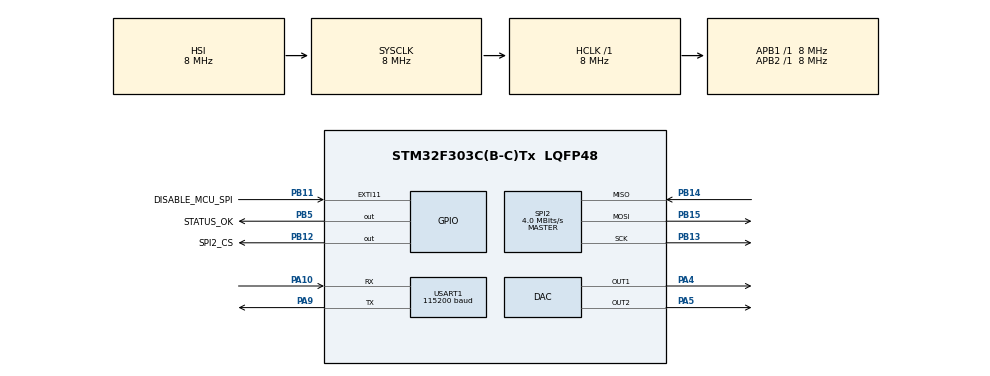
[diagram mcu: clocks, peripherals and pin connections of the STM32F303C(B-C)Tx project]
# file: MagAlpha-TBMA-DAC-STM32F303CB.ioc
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Mcu.Family=STM32F3
Mcu.Name=STM32F303C(B-C)Tx
Mcu.Package=LQFP48
NVIC.EXTI15_10_IRQn=true\:0\:0\:false\:false\:true\:true\:true
NVIC.PriorityGroup=NVIC_PRIORITYGROUP_4
PA10.Mode=Asynchronous
PA10.Signal=USART1_RX
PA4.Signal=COMP_DAC1_group
PA5.Signal=COMP_DAC2_group
PA9.Mode=Asynchronous
PA9.Signal=USART1_TX
PB11.GPIO_Label=DISABLE_MCU_SPI
PB11.GPIO_ModeDefaultEXTI=GPIO_MODE_IT_RISING_FALLING
PB11.GPIO_PuPd=GPIO_PULLDOWN
PB11.Signal=GPXTI11
PB12.GPIO_Label=SPI2_CS
PB12.GPIO_ModeDefaultOutputPP=GPIO_MODE_OUTPUT_OD
PB12.GPIO_PuPd=GPIO_PULLUP
PB12.GPIO_Speed=GPIO_SPEED_FREQ_HIGH
PB12.PinState=GPIO_PIN_SET
PB12.Signal=GPIO_Output
PB13.Mode=Full_Duplex_Master
PB13.Signal=SPI2_SCK
PB14.Mode=Full_Duplex_Master
PB14.Signal=SPI2_MISO
PB15.Mode=Full_Duplex_Master
PB15.Signal=SPI2_MOSI
PB5.GPIO_Label=STATUS_OK
PB5.GPIO_ModeDefaultOutputPP=GPIO_MODE_OUTPUT_PP
PB5.GPIO_PuPd=GPIO_NOPULL
PB5.PinState=GPIO_PIN_RESET
PB5.Signal=GPIO_Output
ProjectManager.HeapSize=0x200
ProjectManager.StackSize=0x400
ProjectManager.TargetToolchain=MDK-ARM V5.27
RCC.AHBFreq_Value=8000000
RCC.APB1Freq_Value=8000000
RCC.APB2Freq_Value=8000000
RCC.CortexFreq_Value=8000000
RCC.HSE_VALUE=8000000
RCC.HSI_VALUE=8000000
RCC.LSE_VALUE=32768
RCC.SYSCLKFreq_VALUE=8000000
SH.COMP_DAC1_group.0=DAC_OUT1,DAC_OUT1
SH.COMP_DAC2_group.0=DAC_OUT2,Enable_DAC_OUT2
SPI2.CLKPhase=SPI_PHASE_2EDGE
SPI2.CLKPolarity=SPI_POLARITY_HIGH
SPI2.CalculateBaudRate=4.0 MBits/s
SPI2.DataSize=SPI_DATASIZE_16BIT
SPI2.Direction=SPI_DIRECTION_2LINES
SPI2.Mode=SPI_MODE_MASTER
SPI2.VirtualType=VM_MASTER
USART1.AutoBaudRateEnableParam=UART_ADVFEATURE_AUTOBAUDRATE_DISABLE
USART1.BaudRate=115200
USART1.Mode=MODE_TX
USART1.Parity=PARITY_EVEN
USART1.VirtualMode-Asynchronous=VM_ASYNC
USART1.WordLength=WORDLENGTH_9B
board=custom

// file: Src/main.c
/* USER CODE BEGIN Header */
/**
  ******************************************************************************
  * @file           : main.c
  * @brief          : Main program body
  ******************************************************************************
  * @attention
  *
  * <h2><center>&copy; Copyright (c) 2020 STMicroelectronics.
  * All rights reserved.</center></h2>
  *
  * This software component is licensed by ST under BSD 3-Clause license,
  * the "License"; You may not use this file except in compliance with the
  * License. You may obtain a copy of the License at:
  *                        opensource.org/licenses/BSD-3-Clause
  *
  ******************************************************************************
  */
/* USER CODE END Header */

#include "main.h"

/* USER CODE BEGIN Includes */
#include <string.h>
#include <stdio.h>
#include <stdbool.h>
/* USER CODE END Includes */

/* USER CODE BEGIN PD */
#define UART_RECEIVE_BUFFER_SIZE_IN_BYTE 12
#define RAWTODEG 0.0054931640625
/* USER CODE END PD */

DAC_HandleTypeDef hdac;

SPI_HandleTypeDef hspi2;

UART_HandleTypeDef huart1;

/* USER CODE BEGIN PV */
uint8_t uartRxData[100];
uint8_t uartTxData[100];
bool spiEnabled = true;

/* USER CODE END PV */

void SystemClock_Config(void);
static void MX_GPIO_Init(void);
static void MX_DAC_Init(void);
static void MX_SPI2_Init(void);
static void MX_USART1_UART_Init(void);
/* USER CODE BEGIN PFP */
void configSensor(void);
void configSystem(void);
uint8_t writeSensorRegister(uint8_t address, uint8_t value);
uint8_t readSensorRegister(uint8_t address);
uint16_t readSensorAngle(void);
void transmitAngleToUart(uint16_t angle);
void setDacValue(uint16_t angle);
void checkSpiHostId(void);

/* USER CODE END PFP */

int main(void)
{
  /* USER CODE BEGIN 1 */
  uint16_t angle;
  uint32_t delayInMs=500;

  /* USER CODE END 1 */

  /* MCU Configuration--------------------------------------------------------*/

  /* Reset of all peripherals, Initializes the Flash interface and the Systick. */
  HAL_Init();

  /* Configure the system clock */
  SystemClock_Config();

  /* Initialize all configured peripherals */
  MX_GPIO_Init();
  MX_DAC_Init();
  MX_SPI2_Init();
  MX_USART1_UART_Init();
  /* USER CODE BEGIN 2 */
  configSystem();
  configSensor();

  /* USER CODE END 2 */

  /* Infinite loop */
  /* USER CODE BEGIN WHILE */
  while (1)
  {
    if (spiEnabled)
    {
      angle=readSensorAngle();
      setDacValue(angle);
      transmitAngleToUart(angle);
    }
    else
    {
      HAL_GPIO_TogglePin(STATUS_OK_GPIO_Port, STATUS_OK_Pin);
      HAL_Delay(delayInMs);
    }

    /* USER CODE END WHILE */

  }
}

void SystemClock_Config(void)
{
  RCC_OscInitTypeDef RCC_OscInitStruct = {0};
  RCC_ClkInitTypeDef RCC_ClkInitStruct = {0};
  RCC_PeriphCLKInitTypeDef PeriphClkInit = {0};

  /** Initializes the CPU, AHB and APB busses clocks
  */
  RCC_OscInitStruct.OscillatorType = RCC_OSCILLATORTYPE_HSI;
  RCC_OscInitStruct.HSIState = RCC_HSI_ON;
  RCC_OscInitStruct.HSICalibrationValue = RCC_HSICALIBRATION_DEFAULT;
  RCC_OscInitStruct.PLL.PLLState = RCC_PLL_NONE;
  if (HAL_RCC_OscConfig(&RCC_OscInitStruct) != HAL_OK)
  {
    Error_Handler();
  }
  /** Initializes the CPU, AHB and APB busses clocks
  */
  RCC_ClkInitStruct.ClockType = RCC_CLOCKTYPE_HCLK|RCC_CLOCKTYPE_SYSCLK
                              |RCC_CLOCKTYPE_PCLK1|RCC_CLOCKTYPE_PCLK2;
  RCC_ClkInitStruct.SYSCLKSource = RCC_SYSCLKSOURCE_HSI;
  RCC_ClkInitStruct.AHBCLKDivider = RCC_SYSCLK_DIV1;
  RCC_ClkInitStruct.APB1CLKDivider = RCC_HCLK_DIV1;
  RCC_ClkInitStruct.APB2CLKDivider = RCC_HCLK_DIV1;

  if (HAL_RCC_ClockConfig(&RCC_ClkInitStruct, FLASH_LATENCY_0) != HAL_OK)
  {
    Error_Handler();
  }
  PeriphClkInit.PeriphClockSelection = RCC_PERIPHCLK_USART1;
  PeriphClkInit.Usart1ClockSelection = RCC_USART1CLKSOURCE_PCLK2;
  if (HAL_RCCEx_PeriphCLKConfig(&PeriphClkInit) != HAL_OK)
  {
    Error_Handler();
  }
}

static void MX_DAC_Init(void)
{

  DAC_ChannelConfTypeDef sConfig = {0};

  /** DAC Initialization
  */
  hdac.Instance = DAC;
  if (HAL_DAC_Init(&hdac) != HAL_OK)
  {
    Error_Handler();
  }
  /** DAC channel OUT1 config
  */
  sConfig.DAC_Trigger = DAC_TRIGGER_NONE;
  sConfig.DAC_OutputBuffer = DAC_OUTPUTBUFFER_ENABLE;
  if (HAL_DAC_ConfigChannel(&hdac, &sConfig, DAC_CHANNEL_1) != HAL_OK)
  {
    Error_Handler();
  }
  /** DAC channel OUT2 config
  */
  if (HAL_DAC_ConfigChannel(&hdac, &sConfig, DAC_CHANNEL_2) != HAL_OK)
  {
    Error_Handler();
  }

}

static void MX_SPI2_Init(void)
{

  /* SPI2 parameter configuration*/
  hspi2.Instance = SPI2;
  hspi2.Init.Mode = SPI_MODE_MASTER;
  hspi2.Init.Direction = SPI_DIRECTION_2LINES;
  hspi2.Init.DataSize = SPI_DATASIZE_16BIT;
  hspi2.Init.CLKPolarity = SPI_POLARITY_HIGH;
  hspi2.Init.CLKPhase = SPI_PHASE_2EDGE;
  hspi2.Init.NSS = SPI_NSS_SOFT;
  hspi2.Init.BaudRatePrescaler = SPI_BAUDRATEPRESCALER_2;
  hspi2.Init.FirstBit = SPI_FIRSTBIT_MSB;
  hspi2.Init.TIMode = SPI_TIMODE_DISABLE;
  hspi2.Init.CRCCalculation = SPI_CRCCALCULATION_DISABLE;
  hspi2.Init.CRCPolynomial = 7;
  hspi2.Init.CRCLength = SPI_CRC_LENGTH_DATASIZE;
  hspi2.Init.NSSPMode = SPI_NSS_PULSE_DISABLE;
  if (HAL_SPI_Init(&hspi2) != HAL_OK)
  {
    Error_Handler();
  }

}

static void MX_USART1_UART_Init(void)
{

  huart1.Instance = USART1;
  huart1.Init.BaudRate = 115200;
  huart1.Init.WordLength = UART_WORDLENGTH_9B;
  huart1.Init.StopBits = UART_STOPBITS_1;
  huart1.Init.Parity = UART_PARITY_EVEN;
  huart1.Init.Mode = UART_MODE_TX;
  huart1.Init.HwFlowCtl = UART_HWCONTROL_NONE;
  huart1.Init.OverSampling = UART_OVERSAMPLING_16;
  huart1.Init.OneBitSampling = UART_ONE_BIT_SAMPLE_DISABLE;
  huart1.AdvancedInit.AdvFeatureInit = UART_ADVFEATURE_NO_INIT;
  if (HAL_UART_Init(&huart1) != HAL_OK)
  {
    Error_Handler();
  }

}

static void MX_GPIO_Init(void)
{
  GPIO_InitTypeDef GPIO_InitStruct = {0};

  /* GPIO Ports Clock Enable */
  __HAL_RCC_GPIOA_CLK_ENABLE();
  __HAL_RCC_GPIOB_CLK_ENABLE();

  /*Configure GPIO pin Output Level */
  HAL_GPIO_WritePin(SPI2_CS_GPIO_Port, SPI2_CS_Pin, GPIO_PIN_SET);

  /*Configure GPIO pin Output Level */
  HAL_GPIO_WritePin(STATUS_OK_GPIO_Port, STATUS_OK_Pin, GPIO_PIN_RESET);

  /*Configure GPIO pin : DISABLE_MCU_SPI_Pin */
  GPIO_InitStruct.Pin = DISABLE_MCU_SPI_Pin;
  GPIO_InitStruct.Mode = GPIO_MODE_IT_RISING_FALLING;
  GPIO_InitStruct.Pull = GPIO_PULLDOWN;
  HAL_GPIO_Init(DISABLE_MCU_SPI_GPIO_Port, &GPIO_InitStruct);

  /*Configure GPIO pin : SPI2_CS_Pin */
  GPIO_InitStruct.Pin = SPI2_CS_Pin;
  GPIO_InitStruct.Mode = GPIO_MODE_OUTPUT_OD;
  GPIO_InitStruct.Pull = GPIO_PULLUP;
  GPIO_InitStruct.Speed = GPIO_SPEED_FREQ_HIGH;
  HAL_GPIO_Init(SPI2_CS_GPIO_Port, &GPIO_InitStruct);

  /*Configure GPIO pin : STATUS_OK_Pin */
  GPIO_InitStruct.Pin = STATUS_OK_Pin;
  GPIO_InitStruct.Mode = GPIO_MODE_OUTPUT_PP;
  GPIO_InitStruct.Pull = GPIO_NOPULL;
  GPIO_InitStruct.Speed = GPIO_SPEED_FREQ_LOW;
  HAL_GPIO_Init(STATUS_OK_GPIO_Port, &GPIO_InitStruct);

  /* EXTI interrupt init*/
  HAL_NVIC_SetPriority(EXTI15_10_IRQn, 0, 0);
  HAL_NVIC_EnableIRQ(EXTI15_10_IRQn);

}

/* USER CODE BEGIN 4 */
void configSensor(void)
{
  if (spiEnabled)
  {
    //writeSensorRegister(0, 0);
    //writeSensorRegister(1, 0);
  }
}

void configSystem(void)
{
  HAL_GPIO_WritePin(STATUS_OK_GPIO_Port, STATUS_OK_Pin, GPIO_PIN_SET);
  //HAL_UART_Receive_IT(&huart1, (uint8_t *)uartRxData, UART_RECEIVE_BUFFER_SIZE_IN_BYTE);
  HAL_DAC_Start(&hdac, DAC_CHANNEL_1);
  HAL_DAC_Start(&hdac, DAC_CHANNEL_2);
  checkSpiHostId();
}

uint8_t writeSensorRegister(uint8_t address, uint8_t value)
{
  uint32_t delayInMs=20;
  uint32_t timeoutInMs=10;
  uint8_t txData[2];
  uint8_t rxData[2];
  uint8_t registerValue;

  txData[0]=value;
  txData[1]=(0x4<<5)|(0x1F&address);
  HAL_GPIO_WritePin(SPI2_CS_GPIO_Port, SPI2_CS_Pin, GPIO_PIN_RESET);
  HAL_SPI_TransmitReceive(&hspi2, txData, rxData, 1, timeoutInMs);
  HAL_GPIO_WritePin(SPI2_CS_GPIO_Port, SPI2_CS_Pin, GPIO_PIN_SET);
  HAL_Delay(delayInMs);

  txData[0]=0;
  txData[1]=0;
  HAL_GPIO_WritePin(SPI2_CS_GPIO_Port, SPI2_CS_Pin, GPIO_PIN_RESET);
  HAL_SPI_TransmitReceive(&hspi2, txData, rxData, 1, timeoutInMs);
  HAL_GPIO_WritePin(SPI2_CS_GPIO_Port, SPI2_CS_Pin, GPIO_PIN_SET);
  registerValue=rxData[1];
  return registerValue;
}

uint8_t readSensorRegister(uint8_t address)
{
  uint32_t delayInMs=1;
  uint32_t timeoutInMs=10;
  uint8_t txData[2];
  uint8_t rxData[2];
  uint8_t registerValue;

  txData[0]=0x00;
  txData[1]=(0x2<<5)|(0x1F&address);
  HAL_GPIO_WritePin(SPI2_CS_GPIO_Port, SPI2_CS_Pin, GPIO_PIN_RESET);
  HAL_SPI_TransmitReceive(&hspi2, txData, rxData, 1, timeoutInMs);
  HAL_GPIO_WritePin(SPI2_CS_GPIO_Port, SPI2_CS_Pin, GPIO_PIN_SET);
  HAL_Delay(delayInMs);

  txData[0]=0;
  txData[1]=0;
  HAL_GPIO_WritePin(SPI2_CS_GPIO_Port, SPI2_CS_Pin, GPIO_PIN_RESET);
  HAL_SPI_TransmitReceive(&hspi2, txData, rxData, 1, timeoutInMs);
  HAL_GPIO_WritePin(SPI2_CS_GPIO_Port, SPI2_CS_Pin, GPIO_PIN_SET);
  registerValue=rxData[1];
  return registerValue;
}

uint16_t readSensorAngle(void)
{
  uint32_t timeoutInMs=10;
  uint8_t txData[2];
  uint8_t rxData[2];
  uint16_t angleSensor;

  txData[0]=0;
  txData[1]=0;
  HAL_GPIO_WritePin(SPI2_CS_GPIO_Port, SPI2_CS_Pin, GPIO_PIN_RESET);
  HAL_SPI_TransmitReceive(&hspi2, txData, rxData, 1, timeoutInMs);
  HAL_GPIO_WritePin(SPI2_CS_GPIO_Port, SPI2_CS_Pin, GPIO_PIN_SET);
  angleSensor=(rxData[1]<<8)|rxData[0];
  return angleSensor;
}

void transmitAngleToUart(uint16_t angle)
{
  sprintf((char *)uartTxData, "Angle Sensor = %d, %3.3f\n", angle, angle*RAWTODEG);
  HAL_UART_Transmit(&huart1, uartTxData, strlen((const char *)uartTxData), 100);
}

void setDacValue(uint16_t angle)
{
  //DAC_OUTx = VREF+ * DOR / 4095  with VREF+ = VDD = 3.3V
  //DAC_OUTx = 3.3 * angle truncated to 12-bits / 4095
  HAL_DACEx_DualSetValue(&hdac, DAC_ALIGN_12B_L, angle, (65536-angle)&0xFFFF);
}

void checkSpiHostId(void)
{
  GPIO_InitTypeDef GPIO_InitStruct = {0};
  if (HAL_GPIO_ReadPin(GPIOB, GPIO_PIN_11)) //high
  {
    //disable MCU SPI
    spiEnabled = false;
    HAL_SPI_DeInit(&hspi2);
    HAL_GPIO_DeInit(SPI2_CS_GPIO_Port, SPI2_CS_Pin);

    //CS
    GPIO_InitStruct.Pin = SPI2_CS_Pin;
    GPIO_InitStruct.Mode = GPIO_MODE_INPUT;
    GPIO_InitStruct.Pull = GPIO_NOPULL;
    GPIO_InitStruct.Speed = GPIO_SPEED_FREQ_LOW;
    HAL_GPIO_Init(SPI2_CS_GPIO_Port, &GPIO_InitStruct);

    //SCLK
    GPIO_InitStruct.Pin = GPIO_PIN_13;
    GPIO_InitStruct.Mode = GPIO_MODE_INPUT;
    GPIO_InitStruct.Pull = GPIO_NOPULL;
    GPIO_InitStruct.Speed = GPIO_SPEED_FREQ_LOW;
    HAL_GPIO_Init(GPIOB, &GPIO_InitStruct);

    //MISO
    GPIO_InitStruct.Pin = GPIO_PIN_14;
    GPIO_InitStruct.Mode = GPIO_MODE_INPUT;
    GPIO_InitStruct.Pull = GPIO_NOPULL;
    GPIO_InitStruct.Speed = GPIO_SPEED_FREQ_LOW;
    HAL_GPIO_Init(GPIOB, &GPIO_InitStruct);

    //MOSI
    GPIO_InitStruct.Pin = GPIO_PIN_15;
    GPIO_InitStruct.Mode = GPIO_MODE_INPUT;
    GPIO_InitStruct.Pull = GPIO_NOPULL;
    GPIO_InitStruct.Speed = GPIO_SPEED_FREQ_LOW;
    HAL_GPIO_Init(GPIOB, &GPIO_InitStruct);

    HAL_GPIO_WritePin(STATUS_OK_GPIO_Port, STATUS_OK_Pin, GPIO_PIN_RESET);
  }
  else //low
  {
    //enable MCU SPI
    spiEnabled = true;
    GPIO_InitStruct.Pin = SPI2_CS_Pin;
    GPIO_InitStruct.Mode = GPIO_MODE_OUTPUT_OD;
    GPIO_InitStruct.Pull = GPIO_PULLUP;
    GPIO_InitStruct.Speed = GPIO_SPEED_FREQ_HIGH;
    HAL_GPIO_Init(SPI2_CS_GPIO_Port, &GPIO_InitStruct);
    MX_SPI2_Init();

    HAL_GPIO_WritePin(STATUS_OK_GPIO_Port, STATUS_OK_Pin, GPIO_PIN_SET);
  }
}

/**
  * @brief  EXTI line detection callback.
  * @param  GPIO_Pin Specifies the port pin connected to corresponding EXTI line.
  * @retval None
  */
void HAL_GPIO_EXTI_Callback(uint16_t GPIO_Pin)
{
  if (GPIO_Pin == GPIO_PIN_11)
  {
    HAL_NVIC_DisableIRQ(EXTI15_10_IRQn);
    checkSpiHostId();
    HAL_NVIC_EnableIRQ(EXTI15_10_IRQn);
  }
}

/* USER CODE END 4 */

void Error_Handler(void)
{
}

/************************ (C) COPYRIGHT STMicroelectronics *****END OF FILE****/
